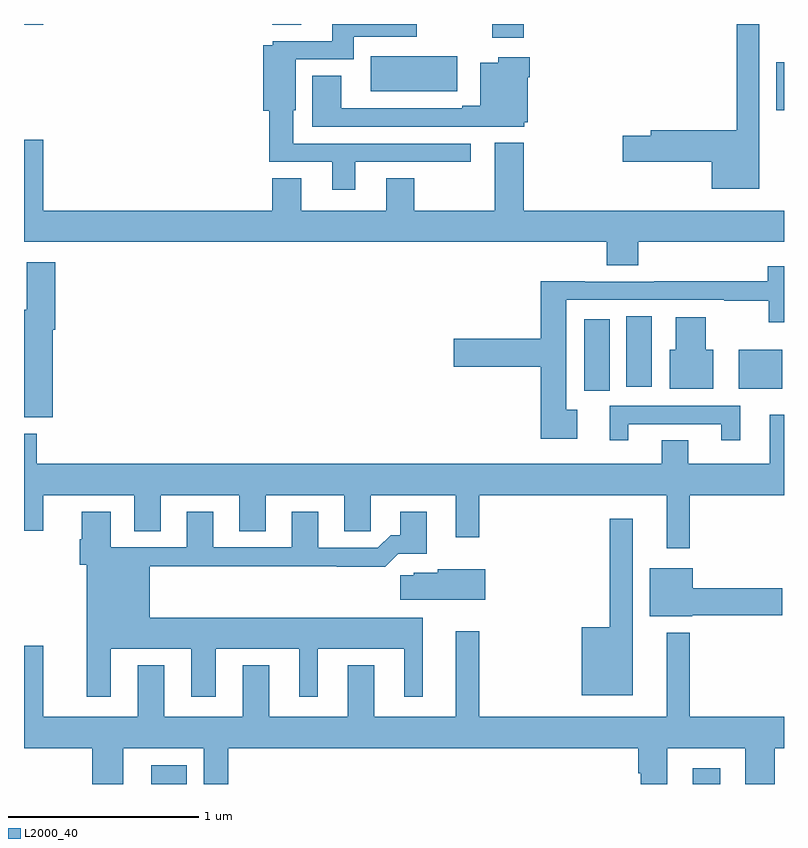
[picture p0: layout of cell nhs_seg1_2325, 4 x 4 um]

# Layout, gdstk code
import gdstk
lib = gdstk.Library(unit=1e-6, precision=1e-09)
def R(c, l, rs):  # rectangles x0, y0, x1, y1
    for r in rs: c.add(gdstk.rectangle(r[:2], r[2:], *l))
def P(c, l, *ps):  # polygons
    for p in ps: c.add(gdstk.Polygon(p, *l))
L2000_40 = (2000, 40)

nhs_seg1_2325 = lib.new_cell('nhs_seg1_2325')
R(nhs_seg1_2325, L2000_40, [(237.671,562.199,237.856,562.297), (240.521,562.199,240.664,562.282), (239.948,564.27,240.082,564.646), (240.761,564.278,240.991,564.484), (240.17,564.291,240.304,564.662), (240.959,565.745,241,565.999), (239.465,566.127,239.63,566.199), (238.307,566.194,238.459,566.199), (237,566.196,237.1,566.199)])
P(nhs_seg1_2325, L2000_40, [(240.871,566.199),(240.75,566.199),(240.75,565.64),(240.299,565.64),(240.299,565.61),(240.15,565.61),(240.15,565.475),(240.62,565.475),(240.62,565.331),(240.871,565.331)],
  [(238.744,565.473),(239.35,565.473),(239.35,565.569),(238.417,565.569),(238.417,565.746),(238.429,565.746),(238.429,566.013),(238.735,566.013),(238.735,566.133),(239.068,566.133),(239.068,566.199),(238.622,566.199),(238.622,566.109),(238.308,566.109),(238.308,566.086),(238.259,566.086),(238.259,565.742),(238.292,565.742),(238.292,565.473),(238.622,565.473),(238.622,565.326),(238.744,565.326)],
  [(239.177,565.845),(239.28,565.845),(239.28,566.029),(238.826,566.029),(238.826,565.844),(239.177,565.844)],
  [(239.634,565.683),(239.65,565.683),(239.65,565.919),(239.663,565.919),(239.663,566.023),(239.496,566.023),(239.496,565.996),(239.402,565.996),(239.402,565.769),(239.306,565.769),(239.306,565.755),(238.669,565.755),(238.669,565.927),(238.517,565.927),(238.517,565.659),(239.634,565.659)],
  [(240.233,565.052),(241,565.052),(241,565.216),(239.63,565.216),(239.63,565.573),(239.477,565.573),(239.477,565.216),(239.055,565.216),(239.055,565.388),(238.907,565.388),(238.907,565.216),(238.459,565.216),(238.459,565.388),(238.307,565.388),(238.307,565.216),(237.1,565.216),(237.1,565.591),(237,565.591),(237,565.052),(240.068,565.052),(240.068,564.928),(240.233,564.928)],
  [(237.151,564.59),(237.164,564.59),(237.164,564.946),(237.014,564.946),(237.014,564.694),(237,564.694),(237,564.128),(237.151,564.128)],
  [(239.911,564.17),(239.854,564.17),(239.854,564.747),(240.685,564.747),(240.685,564.742),(240.919,564.742),(240.919,564.63),(241,564.63),(241,564.925),(240.914,564.925),(240.914,564.845),(240.316,564.845),(240.316,564.843),(239.95,564.843),(239.95,564.845),(239.72,564.845),(239.72,564.542),(239.262,564.542),(239.262,564.395),(239.72,564.395),(239.72,564.017),(239.911,564.017)],
  [(240.628,564.484),(240.589,564.484),(240.589,564.655),(240.431,564.655),(240.431,564.484),(240.398,564.484),(240.398,564.278),(240.628,564.278)],
  [(240.181,564.093),(240.671,564.093),(240.671,564.009),(240.769,564.009),(240.769,564.189),(240.083,564.189),(240.083,564.009),(240.181,564.009)],
  [(240.505,563.72),(241,563.72),(241,564.142),(240.926,564.142),(240.926,563.884),(240.496,563.884),(240.496,564.008),(240.356,564.008),(240.356,563.884),(237.068,563.884),(237.068,564.043),(237,564.043),(237,563.532),(237.1,563.532),(237.1,563.72),(237.581,563.72),(237.581,563.53),(237.721,563.53),(237.721,563.72),(238.133,563.72),(238.133,563.53),(238.273,563.53),(238.273,563.72),(238.685,563.72),(238.685,563.53),(238.824,563.53),(238.824,563.72),(239.273,563.72),(239.273,563.499),(239.395,563.499),(239.395,563.72),(240.383,563.72),(240.383,563.439),(240.505,563.439)],
  [(237.457,562.91),(237.881,562.91),(237.881,562.659),(238.009,562.659),(238.009,562.91),(238.448,562.91),(238.448,562.659),(238.546,562.659),(238.546,562.91),(239,562.91),(239,562.659),(239.098,562.659),(239.098,563.074),(237.661,563.074),(237.661,563.344),(238.645,563.344),(238.645,563.342),(238.901,563.342),(238.971,563.412),(239.119,563.412),(239.119,563.632),(238.979,563.632),(238.979,563.509),(238.93,563.509),(238.863,563.442),(238.549,563.442),(238.549,563.632),(238.409,563.632),(238.409,563.445),(237.997,563.445),(237.997,563.632),(237.857,563.632),(237.857,563.445),(237.457,563.445),(237.457,563.632),(237.305,563.632),(237.305,563.486),(237.293,563.486),(237.293,563.352),(237.329,563.352),(237.329,562.659),(237.457,562.659)],
  [(240.205,563.596),(240.084,563.596),(240.084,563.023),(239.936,563.023),(239.936,562.667),(240.205,562.667)],
  [(240.516,563.087),(240.991,563.087),(240.991,563.229),(240.52,563.229),(240.52,563.335),(240.293,563.335),(240.293,563.081),(240.516,563.081)],
  [(239.428,563.329),(239.178,563.329),(239.178,563.311),(239.052,563.311),(239.052,563.297),(238.98,563.297),(238.98,563.168),(239.428,563.168)],
  [(237.523,562.388),(237.947,562.388),(237.947,562.199),(238.076,562.199),(238.076,562.388),(240.233,562.388),(240.233,562.255),(240.245,562.255),(240.245,562.199),(240.385,562.199),(240.385,562.388),(240.797,562.388),(240.797,562.199),(240.95,562.199),(240.95,562.388),(241,562.388),(241,562.552),(240.505,562.552),(240.505,562.996),(240.383,562.996),(240.383,562.552),(239.395,562.552),(239.395,563.002),(239.273,563.002),(239.273,562.552),(238.843,562.552),(238.843,562.825),(238.703,562.825),(238.703,562.552),(238.291,562.552),(238.291,562.825),(238.151,562.825),(238.151,562.552),(237.739,562.552),(237.739,562.825),(237.599,562.825),(237.599,562.552),(237.1,562.552),(237.1,562.927),(237,562.927),(237,562.388),(237.359,562.388),(237.359,562.199),(237.523,562.199)])

lib.write_gds('nhs_seg1_2325.gds')
